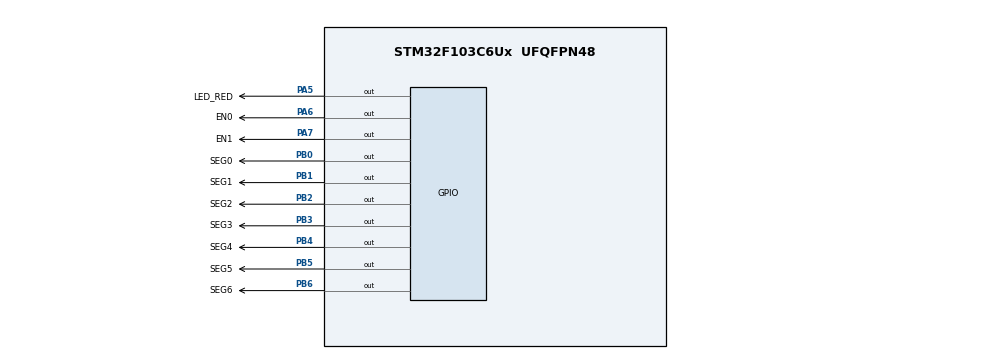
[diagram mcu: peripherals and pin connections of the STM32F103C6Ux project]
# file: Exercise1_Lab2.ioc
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Mcu.Family=STM32F1
Mcu.Name=STM32F103C6Ux
Mcu.Package=UFQFPN48
NVIC.PriorityGroup=NVIC_PRIORITYGROUP_4
NVIC.TIM2_IRQn=true\:0\:0\:false\:false\:true\:true\:true
PA5.GPIO_Label=LED_RED
PA5.Signal=GPIO_Output
PA6.GPIO_Label=EN0
PA6.Signal=GPIO_Output
PA7.GPIO_Label=EN1
PA7.Signal=GPIO_Output
PB0.GPIO_Label=SEG0
PB0.Signal=GPIO_Output
PB1.GPIO_Label=SEG1
PB1.Signal=GPIO_Output
PB2.GPIO_Label=SEG2
PB2.Signal=GPIO_Output
PB3.GPIO_Label=SEG3
PB3.Signal=GPIO_Output
PB4.GPIO_Label=SEG4
PB4.Signal=GPIO_Output
PB5.GPIO_Label=SEG5
PB5.Signal=GPIO_Output
PB6.GPIO_Label=SEG6
PB6.Signal=GPIO_Output
ProjectManager.HeapSize=0x200
ProjectManager.StackSize=0x400
ProjectManager.TargetToolchain=STM32CubeIDE
RCC.APB1Freq_Value=8000000
RCC.APB2Freq_Value=8000000
TIM2.Period=9
TIM2.Prescaler=7999
VP_SYS_VS_ND.Mode=No_Debug
VP_TIM2_VS_ClockSourceINT.Mode=Internal
board=custom

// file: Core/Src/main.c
/* USER CODE BEGIN Header */
/**
  ******************************************************************************
  * @file           : main.c
  * @brief          : Main program body
  ******************************************************************************
  * @attention
  *
  * <h2><center>&copy; Copyright (c) 2025 STMicroelectronics.
  * All rights reserved.</center></h2>
  *
  * This software component is licensed by ST under BSD 3-Clause license,
  * the "License"; You may not use this file except in compliance with the
  * License. You may obtain a copy of the License at:
  *                        opensource.org/licenses/BSD-3-Clause
  *
  ******************************************************************************
  */
/* USER CODE END Header */
#include "main.h"

TIM_HandleTypeDef htim2;

void SystemClock_Config(void);
static void MX_GPIO_Init(void);
static void MX_TIM2_Init(void);

int main(void)
{

  /* MCU Configuration--------------------------------------------------------*/

  /* Reset of all peripherals, Initializes the Flash interface and the Systick. */
  HAL_Init();

  /* Configure the system clock */
  SystemClock_Config();

  /* Initialize all configured peripherals */
  MX_GPIO_Init();
  MX_TIM2_Init();
  /* USER CODE BEGIN 2 */
  HAL_TIM_Base_Start_IT(&htim2);
  /* USER CODE END 2 */

  /* Infinite loop */
  while (1)
  {

  }
}

void SystemClock_Config(void)
{
  RCC_OscInitTypeDef RCC_OscInitStruct = {0};
  RCC_ClkInitTypeDef RCC_ClkInitStruct = {0};

  /** Initializes the RCC Oscillators according to the specified parameters
  * in the RCC_OscInitTypeDef structure.
  */
  RCC_OscInitStruct.OscillatorType = RCC_OSCILLATORTYPE_HSI;
  RCC_OscInitStruct.HSIState = RCC_HSI_ON;
  RCC_OscInitStruct.HSICalibrationValue = RCC_HSICALIBRATION_DEFAULT;
  RCC_OscInitStruct.PLL.PLLState = RCC_PLL_NONE;
  if (HAL_RCC_OscConfig(&RCC_OscInitStruct) != HAL_OK)
  {
    Error_Handler();
  }
  /** Initializes the CPU, AHB and APB buses clocks
  */
  RCC_ClkInitStruct.ClockType = RCC_CLOCKTYPE_HCLK|RCC_CLOCKTYPE_SYSCLK
                              |RCC_CLOCKTYPE_PCLK1|RCC_CLOCKTYPE_PCLK2;
  RCC_ClkInitStruct.SYSCLKSource = RCC_SYSCLKSOURCE_HSI;
  RCC_ClkInitStruct.AHBCLKDivider = RCC_SYSCLK_DIV1;
  RCC_ClkInitStruct.APB1CLKDivider = RCC_HCLK_DIV1;
  RCC_ClkInitStruct.APB2CLKDivider = RCC_HCLK_DIV1;

  if (HAL_RCC_ClockConfig(&RCC_ClkInitStruct, FLASH_LATENCY_0) != HAL_OK)
  {
    Error_Handler();
  }
}

static void MX_TIM2_Init(void)
{

  TIM_ClockConfigTypeDef sClockSourceConfig = {0};
  TIM_MasterConfigTypeDef sMasterConfig = {0};

  htim2.Instance = TIM2;
  htim2.Init.Prescaler = 7999;
  htim2.Init.CounterMode = TIM_COUNTERMODE_UP;
  htim2.Init.Period = 9;
  htim2.Init.ClockDivision = TIM_CLOCKDIVISION_DIV1;
  htim2.Init.AutoReloadPreload = TIM_AUTORELOAD_PRELOAD_DISABLE;
  if (HAL_TIM_Base_Init(&htim2) != HAL_OK)
  {
    Error_Handler();
  }
  sClockSourceConfig.ClockSource = TIM_CLOCKSOURCE_INTERNAL;
  if (HAL_TIM_ConfigClockSource(&htim2, &sClockSourceConfig) != HAL_OK)
  {
    Error_Handler();
  }
  sMasterConfig.MasterOutputTrigger = TIM_TRGO_RESET;
  sMasterConfig.MasterSlaveMode = TIM_MASTERSLAVEMODE_DISABLE;
  if (HAL_TIMEx_MasterConfigSynchronization(&htim2, &sMasterConfig) != HAL_OK)
  {
    Error_Handler();
  }

}

static void MX_GPIO_Init(void)
{
  GPIO_InitTypeDef GPIO_InitStruct = {0};

  /* GPIO Ports Clock Enable */
  __HAL_RCC_GPIOA_CLK_ENABLE();
  __HAL_RCC_GPIOB_CLK_ENABLE();

  /*Configure GPIO pin Output Level */
  HAL_GPIO_WritePin(GPIOA, LED_RED_Pin|EN0_Pin|EN1_Pin, GPIO_PIN_RESET);

  /*Configure GPIO pin Output Level */
  HAL_GPIO_WritePin(GPIOB, SEG0_Pin|SEG1_Pin|SEG2_Pin|SEG3_Pin
                          |SEG4_Pin|SEG5_Pin|SEG6_Pin, GPIO_PIN_RESET);

  /*Configure GPIO pins : LED_RED_Pin EN0_Pin EN1_Pin */
  GPIO_InitStruct.Pin = LED_RED_Pin|EN0_Pin|EN1_Pin;
  GPIO_InitStruct.Mode = GPIO_MODE_OUTPUT_PP;
  GPIO_InitStruct.Pull = GPIO_NOPULL;
  GPIO_InitStruct.Speed = GPIO_SPEED_FREQ_LOW;
  HAL_GPIO_Init(GPIOA, &GPIO_InitStruct);

  /*Configure GPIO pins : SEG0_Pin SEG1_Pin SEG2_Pin SEG3_Pin
                           SEG4_Pin SEG5_Pin SEG6_Pin */
  GPIO_InitStruct.Pin = SEG0_Pin|SEG1_Pin|SEG2_Pin|SEG3_Pin
                          |SEG4_Pin|SEG5_Pin|SEG6_Pin;
  GPIO_InitStruct.Mode = GPIO_MODE_OUTPUT_PP;
  GPIO_InitStruct.Pull = GPIO_NOPULL;
  GPIO_InitStruct.Speed = GPIO_SPEED_FREQ_LOW;
  HAL_GPIO_Init(GPIOB, &GPIO_InitStruct);

}

/* USER CODE BEGIN 4 */
uint8_t led7seg[10] = {
           0xC0, // 0
           0xF9, // 1
           0xA4, // 2
           0xB0, // 3
           0x99, // 4
           0x92, // 5
           0x82, // 6
           0xF8, // 7
           0x80, // 8
           0x90  // 9
       };

   void display7SEG(int num) {
           if (num < 0 || num > 9) return;
           uint8_t pattern = led7seg[num];

           HAL_GPIO_WritePin(SEG0_GPIO_Port, SEG0_Pin, (pattern >> 0) & 0x01);
           HAL_GPIO_WritePin(SEG1_GPIO_Port, SEG1_Pin, (pattern >> 1) & 0x01);
           HAL_GPIO_WritePin(SEG2_GPIO_Port, SEG2_Pin, (pattern >> 2) & 0x01);
           HAL_GPIO_WritePin(SEG3_GPIO_Port, SEG3_Pin, (pattern >> 3) & 0x01);
           HAL_GPIO_WritePin(SEG4_GPIO_Port, SEG4_Pin, (pattern >> 4) & 0x01);
           HAL_GPIO_WritePin(SEG5_GPIO_Port, SEG5_Pin, (pattern >> 5) & 0x01);
           HAL_GPIO_WritePin(SEG6_GPIO_Port, SEG6_Pin, (pattern >> 6) & 0x01);
       }

int led_index =0;
int counter = 50;
void HAL_TIM_PeriodElapsedCallback(TIM_HandleTypeDef *htim){
	if (htim ->Instance == TIM2){
		if(led_index ==0 ){
			HAL_GPIO_WritePin(EN0_GPIO_Port, EN0_Pin, GPIO_PIN_RESET);
			HAL_GPIO_WritePin(EN1_GPIO_Port, EN1_Pin, GPIO_PIN_SET);
			display7SEG(1);
		}
		else{
			HAL_GPIO_WritePin(EN0_GPIO_Port, EN0_Pin, GPIO_PIN_SET);
			HAL_GPIO_WritePin(EN1_GPIO_Port, EN1_Pin, GPIO_PIN_RESET);
			display7SEG(2);
		}
		if(counter-- <=0){
			counter = 50;
			led_index = !led_index;
			HAL_GPIO_TogglePin(LED_RED_GPIO_Port, LED_RED_Pin);
		}
	}
}
/* USER CODE END 4 */

void Error_Handler(void)
{
  __disable_irq();
  while (1)
  {
  }
}

/************************ (C) COPYRIGHT STMicroelectronics *****END OF FILE****/
